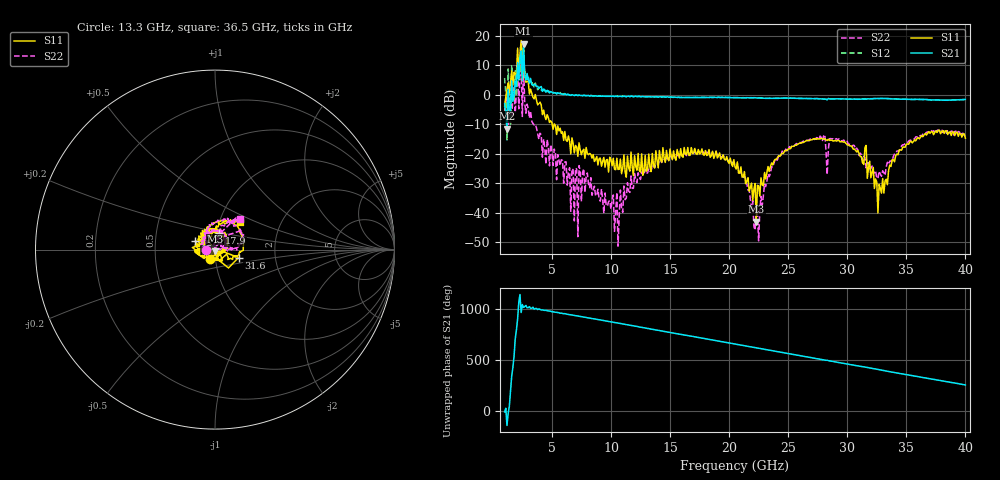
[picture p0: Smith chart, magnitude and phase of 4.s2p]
!Keysight Technologies,N5224A,MY55441802,A.10.65.16
!Date: Wednesday, May 13, 2026 18:38:34
!Correction: S11(Full 2 Port(1,2))
!S21(Full 2 Port(1,2))
!S12(Full 2 Port(1,2))
!S22(Full 2 Port(1,2))
!S2P File: Measurements: S11, S21, S12, S22:
# Hz S  dB  R 50
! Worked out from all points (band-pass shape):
!   391 points, 1 GHz to 40 GHz, reference 50 ohm
!   highest |S21| = 17.37 dB at 2.6 GHz (marker M1); lowest = -11.5 dB at 1.2 GHz (marker M2)
!   |S21| within 3 dB of the highest: 2.378 GHz to 2.405 GHz (26.65 MHz wide, 1.11 % of centre); 2.576 GHz to 2.628 GHz (51.6 MHz wide, 1.98 % of centre)
!   lowest |S11| = -43.0 dB at 22.3 GHz (marker M3), VSWR 1.01, Z = 50 - j0.704 ohm
!   |S11| at or under -10 dB: 5.025 GHz to 5.193 GHz (167.8 MHz wide, 3.28 % of centre); 5.227 GHz to end of sweep
!   |S22| runs from -51.4 to 10.7 dB; largest |S21 - S12| = 2.8
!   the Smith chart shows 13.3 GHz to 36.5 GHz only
!   S11 on the Smith chart (normalised r, x): 13.3 GHz: 0.94, -0.10; 15 GHz: 0.80, +0.08; 17.9 GHz: 1.03, +0.19; 31.6 GHz: 1.30, -0.12; 36.5 GHz: 1.26, +0.40
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1e9  -3.86 -80.0  -2.98 -9.6  5.71 -4.6  -5.44 -57.0
1.2e9  1.81 0.2  -11.46 -141.6  -15.37 -78.8  -0.45 -27.3
1.8e9  7.64 -7.6  -0.14 175.0  -1.66 179.3  2.43 -34.1
2e9  7.06 159.5  2.80 70.7  -0.41 35.7  1.53 19.7
2.1e9  15.82 -0.9  10.93 179.8  10.54 174.0  9.19 -22.8
2.3e9  14.03 132.1  12.62 58.0  7.67 40.1  8.09 -2.2
2.4e9  18.44 61.7  14.86 -117.6  15.17 -122.9  10.71 38.1
2.5e9  4.79 -63.3  4.76 -39.9  6.35 -41.7  -7.35 6.9
2.6e9  17.21 -4.2  17.37 -68.6  13.29 -73.5  10.23 -143.1
2.7e9  6.91 122.4  6.58 -60.4  7.65 -65.4  -2.52 102.2
7.5e9  -20.33 -9.3  -0.24 -158.5  -0.14 -157.9  -36.24 7.4
1.33e10  -24.55 -117.6  -0.64 82.2  -0.64 81.8  -25.92 179.9
1.4e10  -24.81 162.0  -0.80 67.8  -0.77 67.8  -23.68 164.8
1.5e10  -18.41 157.3  -0.82 47.2  -0.70 46.7  -20.91 144.0
1.79e10  -20.51 76.6  -0.89 -11.8  -0.88 -12.2  -20.00 77.8
2.05e10  -24.43 26.9  -1.03 -66.2  -0.94 -66.4  -23.99 32.4
2.23e10  -43.04 -91.5  -1.07 -103.6  -1.06 -103.8  -38.50 50.9
2.7e10  -15.29 66.2  -1.29 159.6  -1.27 159.3  -14.98 70.1
3.16e10  -17.18 -18.7  -1.50 67.2  -1.45 66.7  -24.82 11.2
3.35e10  -25.68 125.7  -1.32 26.1  -1.30 25.8  -23.66 72.2
3.65e10  -13.63 47.5  -1.58 -35.6  -1.61 -35.9  -13.08 51.0
4e10  -14.74 -30.2  -1.58 -105.3  -1.60 -105.9  -13.14 -8.9
